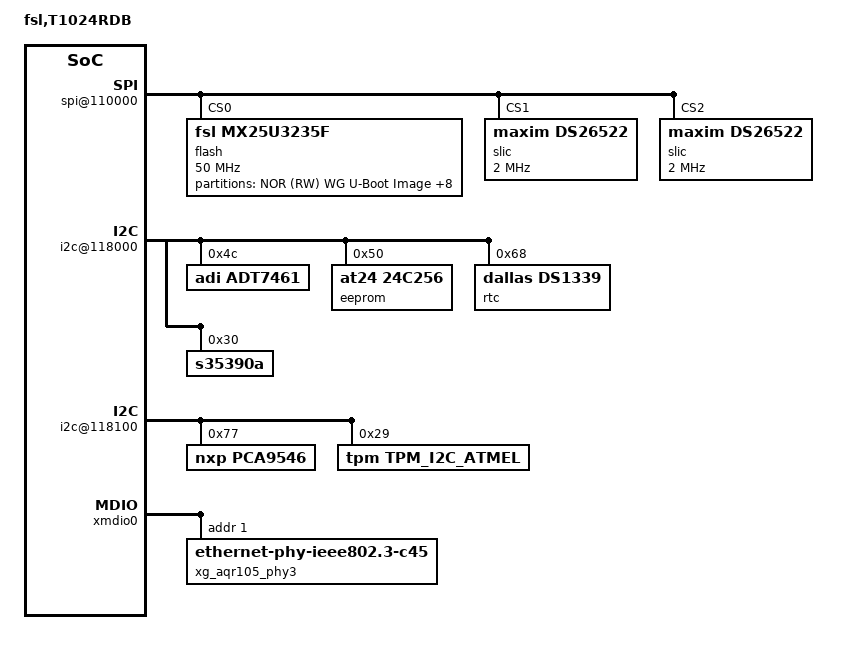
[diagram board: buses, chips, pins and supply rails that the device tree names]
/*
 * T1024 RDB Device Tree Source
 *
 * Copyright 2014 Freescale Semiconductor Inc.
 *
 * Redistribution and use in source and binary forms, with or without
 * modification, are permitted provided that the following conditions are met:
 *     * Redistributions of source code must retain the above copyright
 *	 notice, this list of conditions and the following disclaimer.
 *     * Redistributions in binary form must reproduce the above copyright
 *	 notice, this list of conditions and the following disclaimer in the
 *	 documentation and/or other materials provided with the distribution.
 *     * Neither the name of Freescale Semiconductor nor the
 *	 names of its contributors may be used to endorse or promote products
 *	 derived from this software without specific prior written permission.
 *
 *
 * ALTERNATIVELY, this software may be distributed under the terms of the
 * GNU General Public License ("GPL") as published by the Free Software
 * Foundation, either version 2 of that License or (at your option) any
 * later version.
 *
 * THIS SOFTWARE IS PROVIDED BY Freescale Semiconductor "AS IS" AND ANY
 * EXPRESS OR IMPLIED WARRANTIES, INCLUDING, BUT NOT LIMITED TO, THE IMPLIED
 * WARRANTIES OF MERCHANTABILITY AND FITNESS FOR A PARTICULAR PURPOSE ARE
 * DISCLAIMED. IN NO EVENT SHALL Freescale Semiconductor BE LIABLE FOR ANY
 * DIRECT, INDIRECT, INCIDENTAL, SPECIAL, EXEMPLARY, OR CONSEQUENTIAL DAMAGES
 * (INCLUDING, BUT NOT LIMITED TO, PROCUREMENT OF SUBSTITUTE GOODS OR SERVICES;
 * LOSS OF USE, DATA, OR PROFITS; OR BUSINESS INTERRUPTION) HOWEVER CAUSED AND
 * ON ANY THEORY OF LIABILITY, WHETHER IN CONTRACT, STRICT LIABILITY, OR TORT
 * (INCLUDING NEGLIGENCE OR OTHERWISE) ARISING IN ANY WAY OUT OF THE USE OF THIS
 * SOFTWARE, EVEN IF ADVISED OF THE POSSIBILITY OF SUCH DAMAGE.
 */

/include/ "t102xsi-pre.dtsi"

/ {
	model = "fsl,T1024RDB";
	compatible = "fsl,T1024RDB";
	#address-cells = <2>;
	#size-cells = <2>;
	interrupt-parent = <&mpic>;

	reserved-memory {
		#address-cells = <2>;
		#size-cells = <2>;
		ranges;

		bman_fbpr: bman-fbpr {
			size = <0 0x1000000>;
			alignment = <0 0x1000000>;
			compatible = "fsl,bman-fbpr";
			alloc-ranges = <0 0 0x10000 0>;
		};

		qman_fqd: qman-fqd {
			size = <0 0x400000>;
			alignment = <0 0x400000>;
			compatible = "fsl,qman-fqd";
			alloc-ranges = <0 0 0x10000 0>;
		};

		qman_pfdr: qman-pfdr {
			size = <0 0x2000000>;
			alignment = <0 0x2000000>;
			compatible = "fsl,qman-pfdr";
			alloc-ranges = <0 0 0x10000 0>;
		};
	};

	ifc: localbus@ffe124000 {
		reg = <0xf 0xfe124000 0 0x2000>;
		ranges = <0 0 0xf 0xe8000000 0x08000000
			  2 0 0xf 0xff800000 0x00010000
			  3 0 0xf 0xffdf0000 0x00008000>;
	};

	memory {
		device_type = "memory";
	};

	dcsr: dcsr@f00000000 {
		ranges = <0x00000000 0xf 0x00000000 0x01072000>;
	};

	bportals: bman-portals@ff4000000 {
		ranges = <0x0 0xf 0xf4000000 0x2000000>;
	};

	qportals: qman-portals@ff6000000 {
		ranges = <0x0 0xf 0xf6000000 0x2000000>;
	};

	soc: soc@ffe000000 {
		ranges = <0x00000000 0xf 0xfe000000 0x1000000>;
		reg = <0xf 0xfe000000 0 0x00001000>;
		spi@110000 {
			flash@0 {
				#address-cells = <1>;
				#size-cells = <1>;
				#compatible = "fsl,espi-flash";
				compatible = "fsl,mx25u3235f", "jedec,spi-nor";
				reg = <0>;
				linux,modalias = "fsl_m25p80";
				modal = "mx25u3235f";
				spi-max-frequency = <50000000>;
				mode = <0>;
				partition@00000000 {
					/*1MB: Map it later: u-boot */
					reg = <0x00000000 0x00100000>;
					label = "NOR (RW) WG U-Boot Image";
				};
				partition@00100000 {
					/*64KB: u-boot ENV */
					reg = <0x00100000 0x00010000>;
					label = "NOR (RW) WG U-Boot ENV";
				};
				partition@00110000 {
					/*128KB: fman ucode */
					reg = <0x00110000 0x00020000>;
					label = "NOR (RW) FMAN UCODE";
				};

				partition@00130000 {
					/*832KB: empty-hole:  */
					reg = <0x00130000 0x000D0000>;
					label = "NOR (RW) WG EMPYT-HOLE";
				};

				partition@00200000 {
					/*128KB*/
					reg = <0x00200000 0x00020000>;
					label = "NOR (RW) WG CFG0";
				};

				partition@00220000 {
					/*64KB*/
					reg = <0x00220000 0x00010000>;
					label = "NOR (RW) WG CFG1";
				};

				partition@00230000 {
					/*128KB*/
					reg = <0x00230000 0x00020000>;
					label = "NOR (RW) WG MFG";
				};

				partition@00250000 {
					/*704KB*/
					reg = <0x00250000 0x000B0000>;
					label = "NOR (RW) WG bootOpt Data & reserved";
				};
				partition@00300000 {
					/*1MB*/
					reg = <0x00300000 0x00100000>;
					label = "NOR (RW) WG extra reserved";
				};

			};

			slic@1 {
				compatible = "maxim,ds26522";
				reg = <1>;
				spi-max-frequency = <2000000>;
			};

			slic@2 {
				compatible = "maxim,ds26522";
				reg = <2>;
				spi-max-frequency = <2000000>;
			};
		};

		i2c@118000 {
			adt7461@4c {
				/* Thermal Monitor */
				compatible = "adi,adt7461";
				reg = <0x4c>;
			};

			eeprom@50 {
				compatible = "at24,24c256";
				reg = <0x50>;
			};

			rtc@68 {
				compatible = "dallas,ds1339";
				reg = <0x68>;
				interrupts = <0x1 0x1 0 0>;
			};
			s35390a: s35390a@30 {
				compatible = "s35390a";
				reg = <0x30>;
			};
		};

		i2c@118100 {
			pca9546@77 {
				compatible = "nxp,pca9546";
				reg = <0x77>;
				#address-cells = <1>;
				#size-cells = <0>;
			};
			tpm@29 {
                                compatible = "tpm,tpm_i2c_atmel";
                                reg = <0x29>;
			};
		};

		fman@400000 {
			sleep = <&rcpm 0x00000008>;

			enet0: ethernet@e0000 {
				status = "disabled";
			};

			enet1: ethernet@e2000 {
				status = "disabled";
			};

			enet2: ethernet@e4000 {
				fixed-link = <13 1 1000 0 0>;
				phy-connection-type = "rgmii";
				sleep = <&rcpm 0x20000000>;
			};

			enet3: ethernet@e6000 {
				fixed-link = <14 1 1000 0 0>;
				phy-connection-type = "rgmii";
				sleep = <&rcpm 0x10000000>;
			};

			mdio0: mdio@fc000 {
			};

			xmdio0: mdio@fd000 {
				xg_aqr105_phy3: ethernet-phy@1 {
					compatible = "ethernet-phy-ieee802.3-c45";
					reg = <0x1>;
				};
			};
		};
	};

	pci0: pcie@ffe240000 {
		reg = <0xf 0xfe240000 0 0x10000>;
		ranges = <0x02000000 0 0xe0000000 0xc 0x00000000 0 0x10000000
			  0x01000000 0 0x00000000 0xf 0xf8000000 0 0x00010000>;
		pcie@0 {
			ranges = <0x02000000 0 0xe0000000
				  0x02000000 0 0xe0000000
				  0 0x10000000

				  0x01000000 0 0x00000000
				  0x01000000 0 0x00000000
				  0 0x00010000>;
		};
	};

	pci1: pcie@ffe250000 {
		reg = <0xf 0xfe250000 0 0x10000>;
		ranges = <0x02000000 0 0xe0000000 0xc 0x10000000 0 0x10000000
			  0x01000000 0 0x00000000 0xf 0xf8010000 0 0x00010000>;
		pcie@0 {
			ranges = <0x02000000 0 0xe0000000
				  0x02000000 0 0xe0000000
				  0 0x10000000

				  0x01000000 0 0x00000000
				  0x01000000 0 0x00000000
				  0 0x00010000>;
		};
	};

	pci2: pcie@ffe260000 {
		reg = <0xf 0xfe260000 0 0x10000>;
		ranges = <0x02000000 0 0xe0000000 0xc 0x20000000 0 0x10000000
			  0x01000000 0 0x00000000 0xf 0xf8020000 0 0x00010000>;
		pcie@0 {
			ranges = <0x02000000 0 0xe0000000
				  0x02000000 0 0xe0000000
				  0 0x10000000

				  0x01000000 0 0x00000000
				  0x01000000 0 0x00000000
				  0 0x00010000>;
		};
	};
};

/include/ "t1024si-post.dtsi"
